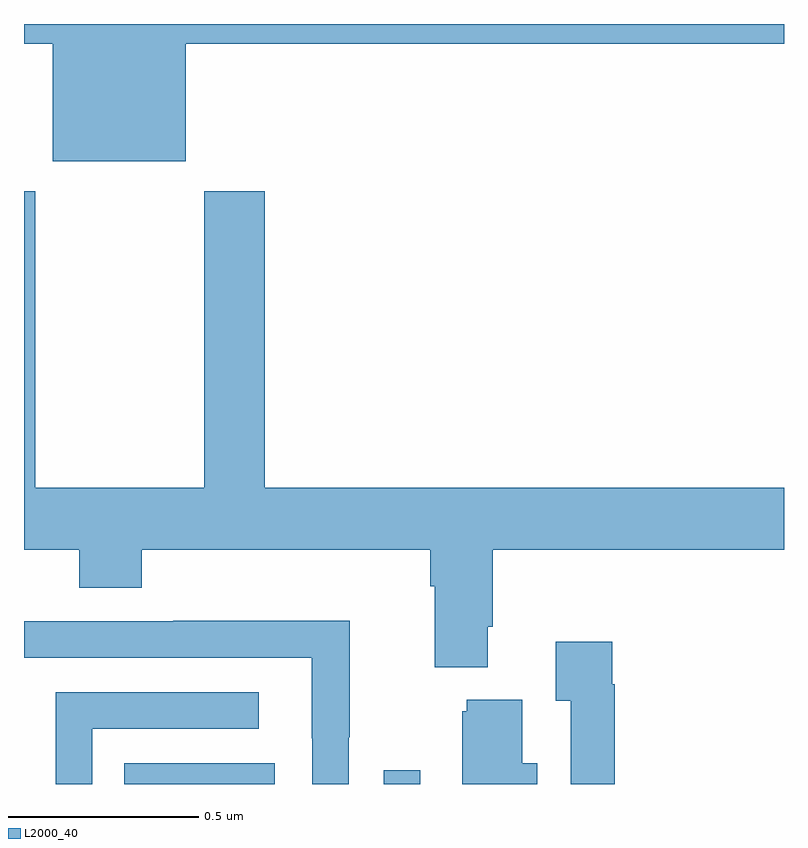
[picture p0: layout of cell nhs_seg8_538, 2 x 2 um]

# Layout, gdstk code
import gdstk
lib = gdstk.Library(unit=1e-6, precision=1e-09)
def R(c, l, rs):  # rectangles x0, y0, x1, y1
    for r in rs: c.add(gdstk.rectangle(r[:2], r[2:], *l))
def P(c, l, *ps):  # polygons
    for p in ps: c.add(gdstk.Polygon(p, *l))
L2000_40 = (2000, 40)

nhs_seg8_538 = lib.new_cell('nhs_seg8_538')
R(nhs_seg8_538, L2000_40, [(118.264,1099.9,118.66,1099.954), (118.947,1099.9,119.043,1099.936)])
P(nhs_seg8_538, L2000_40, [(118.426,1101.848),(120,1101.848),(120,1101.9),(118,1101.9),(118,1101.848),(118.076,1101.848),(118.076,1101.539),(118.426,1101.539)],
  [(119.221,1100.314),(119.234,1100.314),(119.234,1100.516),(120,1100.516),(120,1100.68),(118.634,1100.68),(118.634,1101.46),(118.474,1101.46),(118.474,1100.68),(118.029,1100.68),(118.029,1101.46),(118,1101.46),(118,1100.516),(118.145,1100.516),(118.145,1100.417),(118.31,1100.417),(118.31,1100.516),(119.069,1100.516),(119.069,1100.42),(119.081,1100.42),(119.081,1100.207),(119.221,1100.207)],
  [(118.854,1100.023),(118.857,1100.023),(118.857,1100.33),(118.393,1100.33),(118.393,1100.328),(118,1100.328),(118,1100.232),(118.757,1100.232),(118.757,1100.02),(118.758,1100.02),(118.758,1099.9),(118.854,1099.9)],
  [(119.555,1100.162),(119.548,1100.162),(119.548,1100.275),(119.399,1100.275),(119.399,1100.119),(119.439,1100.119),(119.439,1099.9),(119.555,1099.9)],
  [(118.179,1100.046),(118.618,1100.046),(118.618,1100.142),(118.083,1100.142),(118.083,1099.9),(118.179,1099.9)],
  [(119.35,1099.954),(119.311,1099.954),(119.311,1100.122),(119.165,1100.122),(119.165,1100.091),(119.153,1100.091),(119.153,1099.9),(119.35,1099.9)])

lib.write_gds('nhs_seg8_538.gds')
